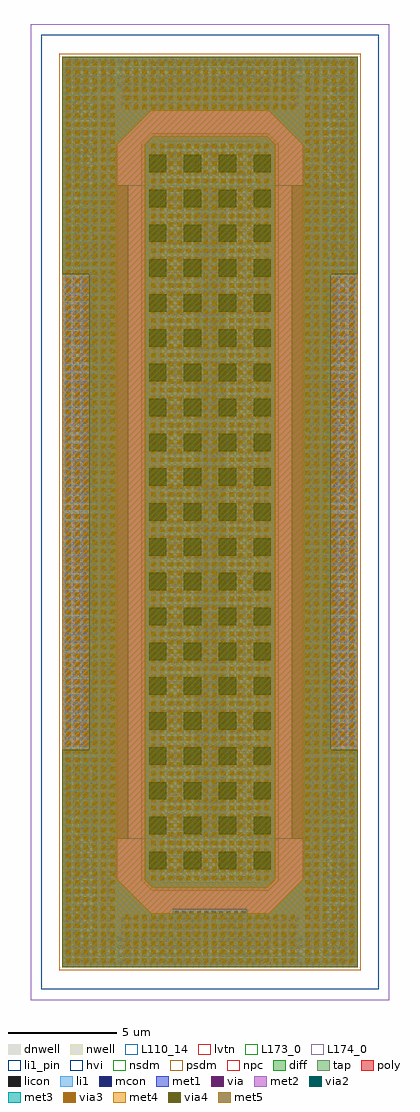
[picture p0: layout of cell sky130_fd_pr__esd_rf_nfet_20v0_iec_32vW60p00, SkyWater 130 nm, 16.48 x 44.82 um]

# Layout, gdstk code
import gdstk
lib = gdstk.Library(unit=1e-6, precision=1e-09)
def R(c, l, rs):  # rectangles x0, y0, x1, y1
    for r in rs: c.add(gdstk.rectangle(r[:2], r[2:], *l))
def A(c, l, x, y, w, h, nx, ny, dx, dy):  # array of equal rectangles
    R(c, l, [(x+i*dx, y+j*dy, x+i*dx+w, y+j*dy+h) for i in range(nx) for j in range(ny)])
def P(c, l, *ps):  # polygons
    for p in ps: c.add(gdstk.Polygon(p, *l))
dnwell = (64, 18)
nwell = (64, 20)
diff = (65, 20)
tap = (65, 44)
poly = (66, 20)
licon = (66, 44)
li1_pin = (67, 16)
li1 = (67, 20)
mcon = (67, 44)
met1 = (68, 20)
via = (68, 44)
met2 = (69, 20)
via2 = (69, 44)
met3 = (70, 20)
via3 = (70, 44)
met4 = (71, 20)
via4 = (71, 44)
met5 = (72, 20)
hvi = (75, 20)
nsdm = (93, 44)
psdm = (94, 20)
npc = (95, 20)
L110_14 = (110, 14)
lvtn = (125, 44)
L173_0 = (173, 0)
L174_0 = (174, 0)

sky130_fd_pr__esd_rf_nfe = lib.new_cell('sky130_fd_pr__esd_rf_nfet_20v0_iec_32vW60p00')
P(sky130_fd_pr__esd_rf_nfe, dnwell, [(5,33.57),(4.57,34),(-3.07,34),(-3.5,33.57),(-3.5,-3.57),(-3.07,-4),(4.57,-4),(5,-3.57)])
P(sky130_fd_pr__esd_rf_nfe, nwell, [(3.9,31.92),(3.42,32.4),(-1.92,32.4),(-2.4,31.92),(-2.4,-1.92),(-1.92,-2.4),(3.42,-2.4),(3.9,-1.92)])
R(sky130_fd_pr__esd_rf_nfe, diff, [(-5.13,0,-4.5,30), (-5.13,0,-3,30), (4.5,0,6.63,30), (6,0,6.63,30), (-5.13,0.065,-4.5,29.935), (6,0.065,6.63,29.935)])
R(sky130_fd_pr__esd_rf_nfe, tap, [(-6.04,-5.91,-5.63,35.91), (-5.915,-5.91,7.415,-5.5), (-6.04,-5.435,-5.63,35.435), (7.13,-5.435,7.54,35.435), (0.035,0.175,1.465,29.825), (-5.915,35.5,7.415,35.91)])
P(sky130_fd_pr__esd_rf_nfe, tap, [(0.15,0),(1.35,0),(1.5,0.15),(1.5,29.85),(1.35,30),(0.15,30),(0,29.85),(0,0.15)],
  [(7.54,35.91),(7.13,35.91),(7.13,-5.5),(-5.63,-5.5),(-5.63,35.5),(7.13,35.5),(7.13,35.91),(-6.04,35.91),(-6.04,-5.91),(7.54,-5.91)])
R(sky130_fd_pr__esd_rf_nfe, poly, [(-0.945,-4.255,2.445,-3.245)])
P(sky130_fd_pr__esd_rf_nfe, poly, [(6,35),(3,35),(3,-2),(-1.5,-2),(-1.5,32),(3,32),(3,35),(-4.5,35),(-4.5,-5),(6,-5)])
A(sky130_fd_pr__esd_rf_nfe, licon, -5.795, -5.79, 0.17, 0.17, 39, 2, 0.34, 41.41)
A(sky130_fd_pr__esd_rf_nfe, licon, -5.92, -5.315, 0.17, 0.17, 1, 120, 0, 0.34)
A(sky130_fd_pr__esd_rf_nfe, licon, 7.25, -5.315, 0.17, 0.17, 1, 120, 0, 0.34)
A(sky130_fd_pr__esd_rf_nfe, licon, -0.865, -4.175, 0.17, 0.17, 10, 3, 0.34, 0.34)
A(sky130_fd_pr__esd_rf_nfe, licon, -5.07, 0.125, 0.17, 0.17, 1, 88, 0, 0.34)
A(sky130_fd_pr__esd_rf_nfe, licon, -4.73, 0.125, 0.17, 0.17, 1, 88, 0, 0.34)
A(sky130_fd_pr__esd_rf_nfe, licon, 6.06, 0.125, 0.17, 0.17, 1, 88, 0, 0.34)
A(sky130_fd_pr__esd_rf_nfe, licon, 6.4, 0.125, 0.17, 0.17, 1, 88, 0, 0.34)
A(sky130_fd_pr__esd_rf_nfe, licon, 0.155, 0.295, 0.17, 0.17, 4, 87, 0.34, 0.34)
R(sky130_fd_pr__esd_rf_nfe, li1_pin, [(-5.15,0.045,-4.48,0.05), (5.98,0.045,6.65,0.05), (0.075,0.215,1.425,0.22)])
R(sky130_fd_pr__esd_rf_nfe, li1, [(-3.38,-5.91,7.54,-5.2), (-5.875,-5.87,7.375,-5.54), (-5.81,-5.785,-4.56,35.785), (-4.195,-5.785,5.695,-4.535), (6.06,-5.785,7.31,35.785), (-6,-5.395,-5.67,35.395), (7.17,-5.395,7.5,35.395), (-0.95,-5,2.445,-3.255), (-0.945,-4.255,2.445,-3.245), (0,0,1.5,30), (-5.15,0.045,-4.48,29.955), (5.98,0.045,6.65,29.955), (0.125,0.155,1.375,29.845), (0.075,0.215,1.425,29.785), (-4.195,34.535,5.695,35.785), (-5.875,35.54,7.375,35.87)])
P(sky130_fd_pr__esd_rf_nfe, li1, [(7.54,35.91),(5.98,35.91),(5.98,-4.47),(-4.48,-4.47),(-4.48,34.35),(5.98,34.35),(5.98,35.91),(-6.04,35.91),(-6.04,-5.91),(7.54,-5.91)],
  [(7.54,35.91),(7.13,35.91),(7.13,-5.5),(-5.63,-5.5),(-5.63,35.5),(7.13,35.5),(7.13,35.91),(-6.04,35.91),(-6.04,-5.91),(7.54,-5.91)])
A(sky130_fd_pr__esd_rf_nfe, mcon, -5.81, -5.785, 0.17, 0.17, 4, 116, 0.36, 0.36)
A(sky130_fd_pr__esd_rf_nfe, mcon, -4.195, -5.785, 0.17, 0.17, 28, 4, 0.36, 0.36)
A(sky130_fd_pr__esd_rf_nfe, mcon, 6.06, -5.785, 0.17, 0.17, 4, 116, 0.36, 0.36)
A(sky130_fd_pr__esd_rf_nfe, mcon, 0.125, 0.155, 0.17, 0.17, 4, 83, 0.36, 0.36)
A(sky130_fd_pr__esd_rf_nfe, mcon, -4.195, 34.535, 0.17, 0.17, 28, 4, 0.36, 0.36)
R(sky130_fd_pr__esd_rf_nfe, met1, [(-5.87,-5.845,-4.5,35.845), (-4.255,-5.845,5.755,-4.475), (6,-5.845,7.37,35.845), (-5.96,-5.79,-3.72,35.81), (-3.41,-5.79,4.91,-3.55), (5.22,-5.79,7.46,35.81), (-1.97,-1.96,3.47,31.96), (0.065,0.095,1.435,29.905), (-3.41,33.57,4.91,35.81), (-4.255,34.475,5.755,35.845)])
P(sky130_fd_pr__esd_rf_nfe, met1, [(7.54,35.91),(5.05,35.91),(5.05,-1.82),(3.45,-3.42),(-1.945,-3.42),(-3.55,-1.815),(-3.55,31.815),(-1.95,33.415),(3.445,33.415),(5.05,31.81),(5.05,35.91),(-6.04,35.91),(-6.04,-5.91),(7.54,-5.91)],
  [(3.75,31.87),(3.37,32.25),(-1.865,32.25),(-2.245,31.87),(-2.245,-1.87),(-1.865,-2.25),(3.37,-2.25),(3.75,-1.87)])
A(sky130_fd_pr__esd_rf_nfe, via, -5.875, -5.705, 0.15, 0.15, 7, 130, 0.32, 0.32)
A(sky130_fd_pr__esd_rf_nfe, via, -3.325, -5.705, 0.15, 0.15, 26, 7, 0.32, 0.32)
A(sky130_fd_pr__esd_rf_nfe, via, 5.305, -5.705, 0.15, 0.15, 7, 130, 0.32, 0.32)
A(sky130_fd_pr__esd_rf_nfe, via, -1.885, -1.875, 0.15, 0.15, 17, 106, 0.32, 0.32)
A(sky130_fd_pr__esd_rf_nfe, via, -3.325, 33.655, 0.15, 0.15, 26, 7, 0.32, 0.32)
R(sky130_fd_pr__esd_rf_nfe, met2, [(-5.96,-5.79,-3.72,35.81), (-3.41,-5.79,4.91,-3.55), (-3.235,-5.79,4.735,-3.42), (5.22,-5.79,7.46,35.81), (-5.92,-5.785,-3.55,35.785), (5.05,-5.785,7.42,35.785), (-2.03,-1.985,3.54,31.985), (-1.97,-1.96,3.47,31.96), (-3.235,33.415,4.735,35.785), (-3.41,33.57,4.91,35.81)])
P(sky130_fd_pr__esd_rf_nfe, met2, [(3.75,31.87),(3.37,32.25),(-1.865,32.25),(-2.245,31.87),(-2.245,-1.87),(-1.865,-2.25),(3.37,-2.25),(3.75,-1.87)],
  [(7.54,35.91),(5.05,35.91),(5.05,-1.82),(3.45,-3.42),(-1.945,-3.42),(-3.55,-1.815),(-3.55,31.815),(-1.95,33.415),(3.445,33.415),(5.05,31.81),(5.05,35.91),(-6.04,35.91),(-6.04,-5.91),(7.54,-5.91)])
A(sky130_fd_pr__esd_rf_nfe, via2, -3.15, -5.705, 0.2, 0.2, 20, 6, 0.4, 0.4)
A(sky130_fd_pr__esd_rf_nfe, via2, -5.835, -5.7, 0.2, 0.2, 6, 104, 0.4, 0.4)
A(sky130_fd_pr__esd_rf_nfe, via2, 5.135, -5.7, 0.2, 0.2, 6, 104, 0.4, 0.4)
A(sky130_fd_pr__esd_rf_nfe, via2, -1.945, -1.9, 0.2, 0.2, 14, 85, 0.4, 0.4)
A(sky130_fd_pr__esd_rf_nfe, via2, -3.15, 33.5, 0.2, 0.2, 20, 6, 0.4, 0.4)
R(sky130_fd_pr__esd_rf_nfe, met3, [(-3.24,-5.8,4.74,-3.42), (-5.93,-5.79,-3.55,35.79), (5.05,-5.79,7.43,35.79), (-3.215,-5.77,4.715,-3.44), (-5.9,-5.765,-3.57,35.765), (5.07,-5.765,7.4,35.765), (-2.035,-1.99,3.545,31.99), (-2.01,-1.965,3.52,31.965), (-3.24,33.415,4.74,35.795), (-3.215,33.435,4.715,35.765)])
P(sky130_fd_pr__esd_rf_nfe, met3, [(3.75,31.87),(3.37,32.25),(-1.865,32.25),(-2.245,31.87),(-2.245,-1.87),(-1.865,-2.25),(3.37,-2.25),(3.75,-1.87)],
  [(7.54,35.91),(5.05,35.91),(5.05,-1.82),(3.45,-3.42),(-1.945,-3.42),(-3.55,-1.815),(-3.55,31.815),(-1.95,33.415),(3.445,33.415),(5.05,31.81),(5.05,35.91),(-6.04,35.91),(-6.04,-5.91),(7.54,-5.91)])
A(sky130_fd_pr__esd_rf_nfe, via3, -3.15, -5.71, 0.2, 0.2, 20, 6, 0.4, 0.4)
A(sky130_fd_pr__esd_rf_nfe, via3, -5.84, -5.7, 0.2, 0.2, 6, 104, 0.4, 0.4)
A(sky130_fd_pr__esd_rf_nfe, via3, 5.14, -5.7, 0.2, 0.2, 6, 104, 0.4, 0.4)
A(sky130_fd_pr__esd_rf_nfe, via3, -1.945, -1.9, 0.2, 0.2, 14, 85, 0.4, 0.4)
A(sky130_fd_pr__esd_rf_nfe, via3, -3.15, 33.505, 0.2, 0.2, 20, 6, 0.4, 0.4)
R(sky130_fd_pr__esd_rf_nfe, met4, [(-3.215,-5.775,4.715,-3.445), (-5.905,-5.765,-3.575,35.765), (5.075,-5.765,7.405,35.765), (-2.01,-1.965,3.52,31.965), (-2.24,-1.59,3.74,31.59), (-3.215,33.44,4.715,35.77)])
P(sky130_fd_pr__esd_rf_nfe, met4, [(3.75,31.87),(3.37,32.25),(-1.865,32.25),(-2.245,31.87),(-2.245,-1.87),(-1.865,-2.25),(3.37,-2.25),(3.75,-1.87)],
  [(7.54,35.91),(5.05,35.91),(5.05,-1.82),(3.45,-3.42),(-1.945,-3.42),(-3.55,-1.815),(-3.55,31.815),(-1.95,33.415),(3.445,33.415),(5.05,31.81),(5.05,35.91),(-6.04,35.91),(-6.04,-5.91),(7.54,-5.91)])
A(sky130_fd_pr__esd_rf_nfe, via4, -2.05, -1.4, 0.8, 0.8, 4, 21, 1.6, 1.6)
R(sky130_fd_pr__esd_rf_nfe, met5, [(-2.36,-1.71,3.86,31.71)])
P(sky130_fd_pr__esd_rf_nfe, met5, [(7.54,4.09),(6.29,4.09),(6.29,25.91),(7.54,25.91),(7.54,35.91),(-6.04,35.91),(-6.04,25.91),(-4.79,25.91),(-4.79,4.09),(-6.04,4.09),(-6.04,-5.91),(7.54,-5.91)])
R(sky130_fd_pr__esd_rf_nfe, hvi, [(-6.99,-6.91,8.49,36.91)])
R(sky130_fd_pr__esd_rf_nfe, nsdm, [(-5.26,-5,6.76,35)])
R(sky130_fd_pr__esd_rf_nfe, psdm, [(-6.17,-6.04,7.67,-5.37), (-6.17,-6.04,-5.5,36.04), (7,-6.04,7.67,36.04), (-6.17,35.37,7.67,36.04)])
R(sky130_fd_pr__esd_rf_nfe, npc, [(-0.965,-4.275,2.465,-3.225)])
R(sky130_fd_pr__esd_rf_nfe, L110_14, [(-5.13,0,6.63,30)])
R(sky130_fd_pr__esd_rf_nfe, lvtn, [(-4,-4.5,5.5,34.5)])
R(sky130_fd_pr__esd_rf_nfe, L173_0, [(-4,-4.5,5.5,34.5)])
R(sky130_fd_pr__esd_rf_nfe, L174_0, [(-7.49,-7.41,8.99,37.41)])

lib.write_gds('sky130_fd_pr__esd_rf_nfet_20v0_iec_32vW60p00.gds')
